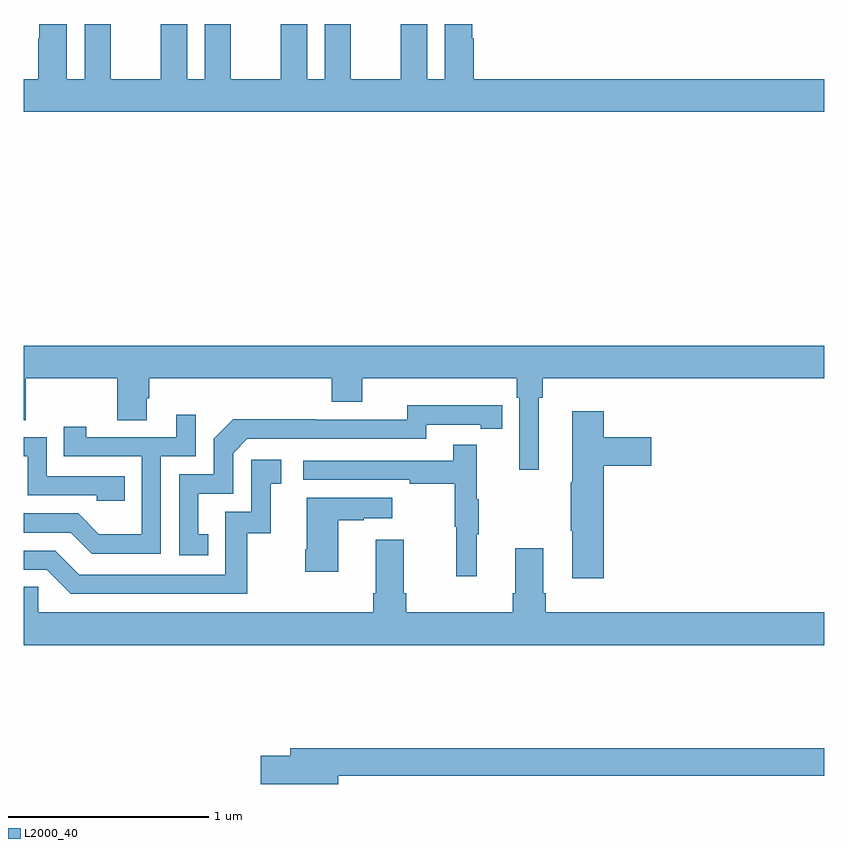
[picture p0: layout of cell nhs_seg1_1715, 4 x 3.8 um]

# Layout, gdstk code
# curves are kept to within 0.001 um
import gdstk
lib = gdstk.Library(unit=1e-6, precision=1e-09)
def P(c, l, *ps):  # polygons
    for p in ps: c.add(gdstk.Polygon(p, *l))
L2000_40 = (2000, 40)

nhs_seg1_1715 = lib.new_cell('nhs_seg1_1715')
P(nhs_seg1_1715, L2000_40, [(209,523.924),(207.248,523.924),(207.248,524.129),(207.241,524.129),(207.241,524.199),(207.104,524.199),(207.104,523.924),(207.016,523.924),(207.016,524.199),(206.885,524.199),(206.885,523.924),(206.635,523.924),(206.635,524.199),(206.504,524.199),(206.504,523.924),(206.416,523.924),(206.416,524.199),(206.285,524.199),(206.285,523.924),(206.035,523.924),(206.035,524.199),(205.904,524.199),(205.904,523.924),(205.816,523.924),(205.816,524.199),(205.685,524.199),(205.685,523.924),(205.435,523.924),(205.435,524.199),(205.304,524.199),(205.304,523.924),(205.216,523.924),(205.216,524.199),(205.079,524.199),(205.079,524.129),(205.073,524.129),(205.073,523.924),(205,523.924),(205,523.76),(209,523.76)],
  [(207.574,522.332),(207.593,522.332),(207.593,522.428),(209,522.428),(209,522.592),(205,522.592),(205,522.22),(205.011,522.22),(205.011,522.428),(205.468,522.428),(205.468,522.22),(205.615,522.22),(205.615,522.33),(205.628,522.33),(205.628,522.428),(206.54,522.428),(206.54,522.311),(206.692,522.311),(206.692,522.428),(207.464,522.428),(207.464,522.332),(207.477,522.332),(207.477,521.973),(207.574,521.973)],
  [(205.922,521.649),(205.873,521.649),(205.873,521.853),(206.046,521.853),(206.046,522.054),(206.118,522.126),(207.012,522.126),(207.012,522.198),(207.284,522.198),(207.284,522.178),(207.392,522.178),(207.392,522.294),(206.916,522.295),(206.916,522.222),(206.456,522.222),(206.456,522.224),(206.048,522.224),(205.95,522.126),(205.95,521.949),(205.776,521.949),(205.776,521.544),(205.922,521.544)],
  [(207.899,521.993),(208.135,521.993),(208.135,522.135),(207.899,522.135),(207.899,522.265),(207.74,522.265),(207.74,521.909),(207.733,521.909),(207.733,521.668),(207.74,521.668),(207.74,521.43),(207.899,521.43)],
  [(205.686,522.039),(205.86,522.039),(205.86,522.246),(205.763,522.246),(205.763,522.135),(205.312,522.135),(205.312,522.187),(205.201,522.187),(205.201,522.039),(205.59,522.039),(205.59,521.65),(205.376,521.65),(205.272,521.754),(205,521.754),(205,521.658),(205.235,521.658),(205.34,521.553),(205.686,521.553)],
  [(205.505,521.94),(205.116,521.94),(205.116,522.135),(205,522.135),(205,522.039),(205.02,522.039),(205.02,521.844),(205.365,521.844),(205.365,521.817),(205.505,521.817)],
  [(207.263,521.651),(207.274,521.651),(207.274,521.825),(207.263,521.825),(207.263,522.097),(207.145,522.097),(207.145,522.018),(206.397,522.018),(206.397,521.922),(206.929,521.922),(206.929,521.902),(207.153,521.902),(207.153,521.688),(207.16,521.688),(207.16,521.439),(207.263,521.439)],
  [(206.116,521.655),(206.234,521.655),(206.234,521.901),(206.287,521.901),(206.287,522.022),(206.136,522.022),(206.136,521.763),(206.007,521.763),(206.007,521.448),(205.278,521.448),(205.158,521.568),(205,521.568),(205,521.472),(205.116,521.472),(205.236,521.352),(206.116,521.352)],
  [(206.572,521.719),(206.699,521.719),(206.699,521.729),(206.842,521.729),(206.842,521.833),(206.414,521.833),(206.414,521.575),(206.407,521.575),(206.407,521.463),(206.572,521.463)],
  [(209,521.26),(207.608,521.26),(207.608,521.356),(207.595,521.356),(207.595,521.581),(207.455,521.581),(207.455,521.356),(207.443,521.356),(207.443,521.26),(206.912,521.26),(206.912,521.356),(206.899,521.356),(206.899,521.623),(206.759,521.623),(206.759,521.356),(206.747,521.356),(206.747,521.26),(205.074,521.26),(205.074,521.387),(205,521.387),(205,521.096),(209,521.096)],
  [(206.572,520.444),(209,520.444),(209,520.58),(206.333,520.58),(206.333,520.544),(206.184,520.544),(206.184,520.402),(206.572,520.402)])

lib.write_gds('nhs_seg1_1715.gds')
